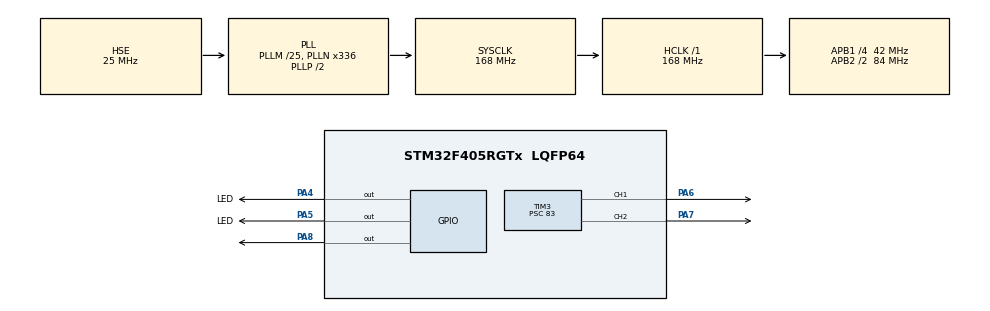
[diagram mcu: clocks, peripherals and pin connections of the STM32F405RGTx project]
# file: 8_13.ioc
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Mcu.Family=STM32F4
Mcu.Name=STM32F405RGTx
Mcu.Package=LQFP64
NVIC.PriorityGroup=NVIC_PRIORITYGROUP_4
NVIC.TIM1_UP_TIM10_IRQn=true\:0\:0\:false\:false\:true\:true\:true\:true
NVIC.TIM8_UP_TIM13_IRQn=true\:15\:0\:false\:false\:true\:false\:true\:true
NVIC.TimeBase=TIM8_UP_TIM13_IRQn
NVIC.TimeBaseIP=TIM8
PA13.Mode=Serial_Wire
PA13.Signal=SYS_JTMS-SWDIO
PA14.Mode=Serial_Wire
PA14.Signal=SYS_JTCK-SWCLK
PA4.GPIO_Label=LED
PA4.GPIO_Speed=GPIO_SPEED_FREQ_HIGH
PA4.Signal=GPIO_Output
PA5.GPIO_Label=LED
PA5.GPIO_Speed=GPIO_SPEED_FREQ_HIGH
PA5.Signal=GPIO_Output
PA6.Signal=S_TIM3_CH1
PA7.Signal=S_TIM3_CH2
PA8.Signal=GPIO_Output
PH0-OSC_IN.Mode=HSE-External-Oscillator
PH0-OSC_IN.Signal=RCC_OSC_IN
PH1-OSC_OUT.Mode=HSE-External-Oscillator
PH1-OSC_OUT.Signal=RCC_OSC_OUT
ProjectManager.HeapSize=0x400
ProjectManager.StackSize=0x800
ProjectManager.TargetToolchain=MDK-ARM V5.32
RCC.48MHZClocksFreq_Value=84000000
RCC.AHBFreq_Value=168000000
RCC.APB1CLKDivider=RCC_HCLK_DIV4
RCC.APB1Freq_Value=42000000
RCC.APB1TimFreq_Value=84000000
RCC.APB2CLKDivider=RCC_HCLK_DIV2
RCC.APB2Freq_Value=84000000
RCC.APB2TimFreq_Value=168000000
RCC.CortexFreq_Value=168000000
RCC.HCLKFreq_Value=168000000
RCC.HSE_VALUE=25000000
RCC.HSI_VALUE=16000000
RCC.LSE_VALUE=32768
RCC.PLLM=25
RCC.PLLN=336
RCC.PLLSourceVirtual=RCC_PLLSOURCE_HSE
RCC.SYSCLKFreq_VALUE=168000000
RCC.SYSCLKSource=RCC_SYSCLKSOURCE_PLLCLK
RCC.VCOOutputFreq_Value=336000000
SH.S_TIM3_CH1.0=TIM3_CH1,PWM Generation1 CH1
SH.S_TIM3_CH2.0=TIM3_CH2,PWM Generation2 CH2
TIM1.Period=9999
TIM1.Prescaler=167
TIM3.AutoReloadPreload=TIM_AUTORELOAD_PRELOAD_ENABLE
TIM3.Channel-PWM\ Generation1\ CH1=TIM_CHANNEL_1
TIM3.Channel-PWM\ Generation2\ CH2=TIM_CHANNEL_2
TIM3.Period=999
TIM3.Prescaler=83
VP_SYS_VS_tim8.Mode=TIM8
VP_TIM1_VS_ClockSourceINT.Mode=Internal
VP_TIM3_VS_ClockSourceINT.Mode=Internal
board=custom

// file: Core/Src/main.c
/* USER CODE BEGIN Header */
/**
  ******************************************************************************
  * @file           : main.c
  * @brief          : Main program body
  ******************************************************************************
  * @attention
  *
  * Copyright (c) 2025 STMicroelectronics.
  * All rights reserved.
  *
  * This software is licensed under terms that can be found in the LICENSE file
  * in the root directory of this software component.
  * If no LICENSE file comes with this software, it is provided AS-IS.
  *
  ******************************************************************************
  */
/* USER CODE END Header */
#include "main.h"
#include "tim.h"
#include "gpio.h"

/* USER CODE BEGIN Includes */
#include "EventRecorder.h"
#include "beepled.h"
#include "stdio.h"
/* USER CODE END Includes */

/* USER CODE BEGIN PV */
uint32_t print_timer = 0;
extern TIM_HandleTypeDef htim1;
extern TIM_HandleTypeDef htim3;
uint8_t current_led = 0;
uint32_t last_toggle_time = 0;
GPIO_TypeDef* led_ports[] = { LED_GPIO_Port,LEDA5_GPIO_Port };
uint16_t led_pins[] = {GPIO_PIN_4,GPIO_PIN_5 };
/* USER CODE END PV */

void SystemClock_Config(void);

int main(void)
{

  /* USER CODE BEGIN 1 */
  EventRecorderInitialize(EventRecordAll,10);
	EventRecorderStart();
  /* USER CODE END 1 */

  /* MCU Configuration--------------------------------------------------------*/

  /* Reset of all peripherals, Initializes the Flash interface and the Systick. */
  HAL_Init();

  /* Configure the system clock */
  SystemClock_Config();

  /* Initialize all configured peripherals */
  MX_GPIO_Init();
  MX_TIM1_Init();
  MX_TIM3_Init();

  /* Infinite loop */
  /* USER CODE BEGIN WHILE */

  while (1)
  {
		for(int i=0; i<1000; i+=50)
{
    __HAL_TIM_SetCompare(&htim3, TIM_CHANNEL_1, i);
    __HAL_TIM_SetCompare(&htim3, TIM_CHANNEL_2, 1000-i);

}
    HAL_Delay(100);
		for(int j=1000; j>=0; j-=50)
{
    __HAL_TIM_SetCompare(&htim3, TIM_CHANNEL_1, j);
    __HAL_TIM_SetCompare(&htim3, TIM_CHANNEL_2, 1000-j);
    HAL_Delay(200);
}
    /* USER CODE END WHILE */

  }
}

void SystemClock_Config(void)
{
  RCC_OscInitTypeDef RCC_OscInitStruct = {0};
  RCC_ClkInitTypeDef RCC_ClkInitStruct = {0};

  /** Configure the main internal regulator output voltage
  */
  __HAL_RCC_PWR_CLK_ENABLE();
  __HAL_PWR_VOLTAGESCALING_CONFIG(PWR_REGULATOR_VOLTAGE_SCALE1);

  /** Initializes the RCC Oscillators according to the specified parameters
  * in the RCC_OscInitTypeDef structure.
  */
  RCC_OscInitStruct.OscillatorType = RCC_OSCILLATORTYPE_HSE;
  RCC_OscInitStruct.HSEState = RCC_HSE_ON;
  RCC_OscInitStruct.PLL.PLLState = RCC_PLL_ON;
  RCC_OscInitStruct.PLL.PLLSource = RCC_PLLSOURCE_HSE;
  RCC_OscInitStruct.PLL.PLLM = 25;
  RCC_OscInitStruct.PLL.PLLN = 336;
  RCC_OscInitStruct.PLL.PLLP = RCC_PLLP_DIV2;
  RCC_OscInitStruct.PLL.PLLQ = 4;
  if (HAL_RCC_OscConfig(&RCC_OscInitStruct) != HAL_OK)
  {
    Error_Handler();
  }

  /** Initializes the CPU, AHB and APB buses clocks
  */
  RCC_ClkInitStruct.ClockType = RCC_CLOCKTYPE_HCLK|RCC_CLOCKTYPE_SYSCLK
                              |RCC_CLOCKTYPE_PCLK1|RCC_CLOCKTYPE_PCLK2;
  RCC_ClkInitStruct.SYSCLKSource = RCC_SYSCLKSOURCE_PLLCLK;
  RCC_ClkInitStruct.AHBCLKDivider = RCC_SYSCLK_DIV1;
  RCC_ClkInitStruct.APB1CLKDivider = RCC_HCLK_DIV4;
  RCC_ClkInitStruct.APB2CLKDivider = RCC_HCLK_DIV2;

  if (HAL_RCC_ClockConfig(&RCC_ClkInitStruct, FLASH_LATENCY_5) != HAL_OK)
  {
    Error_Handler();
  }
}

void HAL_TIM_PeriodElapsedCallback(TIM_HandleTypeDef *htim)
{
  if (htim->Instance == TIM8)
  {
    HAL_IncTick();
  }
  /* USER CODE BEGIN Callback 1 */
  if (htim->Instance == TIM1)
  {
    LED_Flow_Init(&htim1);
		if (htim->Instance == TIM1) {
        uint32_t now = HAL_GetTick();
        if (now - last_toggle_time >= 200) {
            last_toggle_time = now;
            HAL_GPIO_WritePin(led_ports[current_led], led_pins[current_led], GPIO_PIN_RESET);
            current_led = (current_led + 1) % 2;
            HAL_GPIO_WritePin(led_ports[current_led], led_pins[current_led], GPIO_PIN_SET);
        }
    }
    if (++print_timer >= 100) {

        printf("%d\n",  HAL_GetTick()/1000);
				print_timer = 0;
    }
  }
  /* USER CODE END Callback 1 */
}

void Error_Handler(void)
{
  __disable_irq();
  while (1)
  {
  }
}
